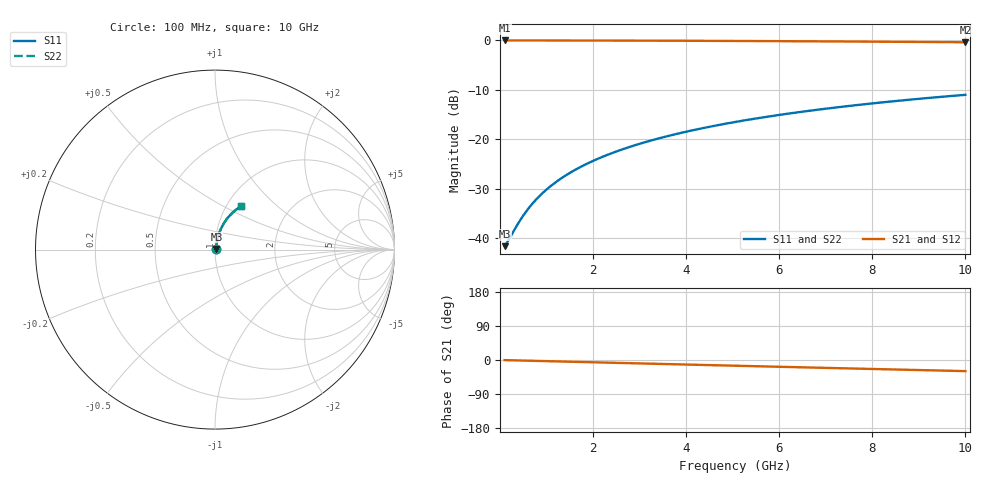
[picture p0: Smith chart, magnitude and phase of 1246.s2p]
# Hz S RI R 50.00
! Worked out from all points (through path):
!   100 points, 100 MHz to 10 GHz, reference 50 ohm
!   highest |S21| = -0.07 dB at 100 MHz (marker M1); lowest = -0.4 dB at 10 GHz (marker M2)
!   group delay of S21, straight-line fit = 8.17 ps
!   lowest |S11| = -41.6 dB at 100 MHz (marker M3), VSWR 1.02, Z = 50.8 + j0.301 ohm
!   |S11| at or under -10 dB: start of sweep to end of sweep
!   |S22| runs from -41.6 to -11.0 dB; largest |S21 - S12| = 0
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1e8  0.0078 0.00296  0.9922 -0.00521  0.9922 -0.00521  0.0078 0.00296
2e8  0.00789 0.00593  0.9921 -0.0104  0.9921 -0.0104  0.00789 0.00593
4e8  0.00815 0.0118  0.9918 -0.0208  0.9918 -0.0208  0.00815 0.0118
5e8  0.00831 0.0148  0.9916 -0.026  0.9916 -0.026  0.00831 0.0148
6e8  0.00851 0.0178  0.9914 -0.0312  0.9914 -0.0312  0.00851 0.0178
7e8  0.00873 0.0207  0.9911 -0.0364  0.9911 -0.0364  0.00873 0.0207
8e8  0.00898 0.0237  0.9908 -0.0416  0.9908 -0.0416  0.00898 0.0237
1e9  0.00957 0.0296  0.9902 -0.052  0.9902 -0.052  0.00957 0.0296
1.2e9  0.0103 0.0354  0.9893 -0.0623  0.9893 -0.0623  0.0103 0.0354
1.5e9  0.0116 0.0442  0.9878 -0.0779  0.9878 -0.0779  0.0116 0.0442
1.8e9  0.0131 0.0529  0.986 -0.0933  0.986 -0.0933  0.0131 0.0529
2.1e9  0.015 0.0616  0.9839 -0.1087  0.9839 -0.1087  0.015 0.0616
2.5e9  0.0178 0.0731  0.9805 -0.1292  0.9805 -0.1292  0.0178 0.0731
2.9e9  0.0211 0.0844  0.9767 -0.1494  0.9767 -0.1494  0.0211 0.0844
3.4e9  0.026 0.0982  0.971 -0.1746  0.971 -0.1746  0.026 0.0982
4.2e9  0.0351 0.1198  0.9604 -0.2141  0.9604 -0.2141  0.0351 0.1198
5.1e9  0.0474 0.1429  0.9459 -0.2576  0.9459 -0.2576  0.0474 0.1429
5.9e9  0.06 0.1623  0.931 -0.295  0.931 -0.295  0.06 0.1623
6.7e9  0.074 0.1805  0.9144 -0.3313  0.9144 -0.3313  0.074 0.1805
7.5e9  0.0894 0.1974  0.896 -0.3663  0.896 -0.3663  0.0894 0.1974
8.4e9  0.1081 0.2146  0.8736 -0.404  0.8736 -0.404  0.1081 0.2146
1e10  0.1443 0.2406  0.8296 -0.4664  0.8296 -0.4664  0.1443 0.2406
